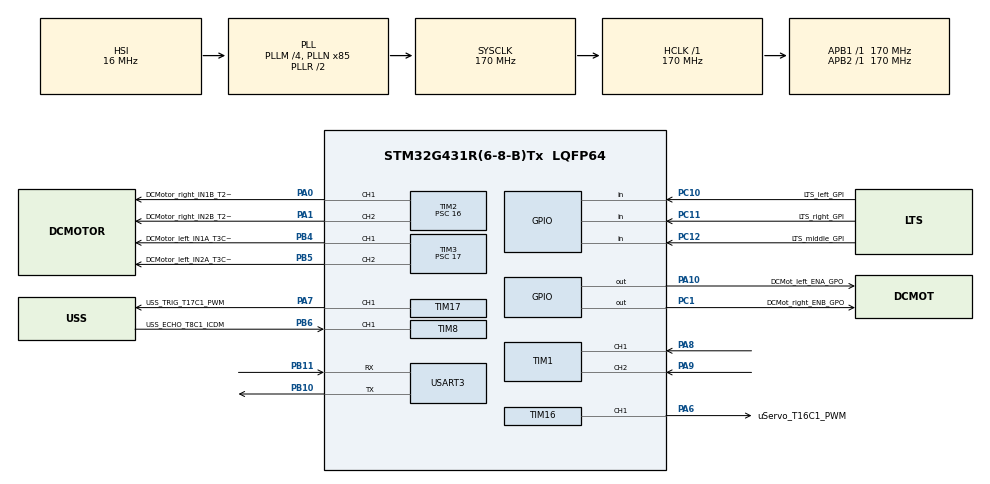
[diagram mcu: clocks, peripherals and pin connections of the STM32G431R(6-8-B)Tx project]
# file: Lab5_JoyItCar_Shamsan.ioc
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Dma.Request0=USART3_TX
Dma.USART3_TX.0.Direction=DMA_MEMORY_TO_PERIPH
Dma.USART3_TX.0.EventEnable=DISABLE
Dma.USART3_TX.0.Instance=DMA1_Channel1
Dma.USART3_TX.0.MemDataAlignment=DMA_MDATAALIGN_BYTE
Dma.USART3_TX.0.MemInc=DMA_MINC_ENABLE
Dma.USART3_TX.0.Mode=DMA_CIRCULAR
Dma.USART3_TX.0.PeriphDataAlignment=DMA_PDATAALIGN_BYTE
Dma.USART3_TX.0.PeriphInc=DMA_PINC_DISABLE
Dma.USART3_TX.0.Polarity=HAL_DMAMUX_REQ_GEN_RISING
Dma.USART3_TX.0.Priority=DMA_PRIORITY_MEDIUM
Dma.USART3_TX.0.RequestNumber=1
Dma.USART3_TX.0.SignalID=NONE
Dma.USART3_TX.0.SyncEnable=DISABLE
Dma.USART3_TX.0.SyncPolarity=HAL_DMAMUX_SYNC_NO_EVENT
Dma.USART3_TX.0.SyncRequestNumber=1
Dma.USART3_TX.0.SyncSignalID=NONE
FREERTOS.BinarySemaphores01=gEncMtx,Dynamic,NULL,Available
FREERTOS.Tasks01=LineFollower_Ta,55,128,vLineFollowerTask,Default,NULL,Dynamic,NULL,NULL;RGB_Task,8,128,vRGBLightTask,Default,NULL,Dynamic,NULL,NULL;StatsPrint_Task,8,128,vStatusPrintTask,Default,NULL,Dynamic,NULL,NULL
FREERTOS.configTOTAL_HEAP_SIZE=6000
Mcu.Family=STM32G4
Mcu.Name=STM32G431R(6-8-B)Tx
Mcu.Package=LQFP64
NVIC.DMA1_Channel1_IRQn=true\:5\:0\:false\:false\:true\:true\:false\:true\:true
NVIC.PriorityGroup=NVIC_PRIORITYGROUP_4
NVIC.TIM1_BRK_TIM15_IRQn=true\:5\:0\:false\:false\:true\:true\:true\:true\:true
NVIC.TIM6_DAC_IRQn=true\:5\:0\:false\:false\:true\:true\:true\:true\:true
NVIC.TIM7_IRQn=true\:15\:0\:false\:false\:true\:false\:false\:true\:true
NVIC.TIM8_CC_IRQn=true\:5\:0\:false\:false\:true\:true\:true\:true\:true
NVIC.TimeBase=TIM7_IRQn
NVIC.TimeBaseIP=TIM7
PA0.GPIO_Label=DCMotor_right_IN1B_T2C1_PWM
PA0.Signal=S_TIM2_CH1
PA1.GPIO_Label=DCMotor_right_IN2B_T2C2_PWM
PA1.Signal=S_TIM2_CH2
PA10.GPIO_Label=DCMot_left_ENA_GPO
PA10.Signal=GPIO_Output
PA13.Mode=Trace_Asynchronous_SW
PA13.Signal=SYS_JTMS-SWDIO
PA14.Mode=Trace_Asynchronous_SW
PA14.Signal=SYS_JTCK-SWCLK
PA2.GPIO_Label=SS_right_T15C1_ICDM
PA2.Signal=S_TIM15_CH1
PA3.GPIO_Label=SS_left_T15C2_ICDM
PA3.Signal=S_TIM15_CH2
PA6.GPIO_Label=uServo_T16C1_PWM
PA6.Signal=S_TIM16_CH1
PA7.GPIO_Label=USS_TRIG_T17C1_PWM
PA7.Signal=S_TIM17_CH1
PA8.GPIO_PuPd=GPIO_NOPULL
PA8.Signal=S_TIM1_CH1
PA9.GPIO_PuPd=GPIO_NOPULL
PA9.Signal=S_TIM1_CH2
PB10.Mode=Asynchronous
PB10.Signal=USART3_TX
PB11.Mode=Asynchronous
PB11.Signal=USART3_RX
PB3.Mode=Trace_Asynchronous_SW
PB3.Signal=SYS_JTDO-SWO
PB4.GPIO_Label=DCMotor_left_IN1A_T3C1_PWM
PB4.Signal=S_TIM3_CH1
PB5.GPIO_Label=DCMotor_left_IN2A_T3C2_PWM
PB5.Signal=S_TIM3_CH2
PB6.GPIO_Label=USS_ECHO_T8C1_ICDM
PB6.Signal=S_TIM8_CH1
PB9.GPIO_Label=RGB_Lights_T4C4_PWM
PB9.Signal=S_TIM4_CH4
PC1.GPIO_Label=DCMot_right_ENB_GPO
PC1.Signal=GPIO_Output
PC10.GPIO_Label=LTS_left_GPI
PC10.Signal=GPIO_Input
PC11.GPIO_Label=LTS_right_GPI
PC11.Signal=GPIO_Input
PC12.GPIO_Label=LTS_middle_GPI
PC12.Signal=GPIO_Input
ProjectManager.HeapSize=0x200
ProjectManager.StackSize=0x400
ProjectManager.TargetToolchain=STM32CubeIDE
RCC.ADC12Freq_Value=170000000
RCC.AHBFreq_Value=170000000
RCC.APB1Freq_Value=170000000
RCC.APB1TimFreq_Value=170000000
RCC.APB2Freq_Value=170000000
RCC.APB2TimFreq_Value=170000000
RCC.CortexFreq_Value=170000000
RCC.EXTERNAL_CLOCK_VALUE=12288000
RCC.HCLKFreq_Value=170000000
RCC.HSE_VALUE=24000000
RCC.HSI48_VALUE=48000000
RCC.HSI_VALUE=16000000
RCC.LSE_VALUE=32768
RCC.PLLM=RCC_PLLM_DIV4
RCC.PLLN=85
RCC.RTCClockSelection=RCC_RTCCLKSOURCE_LSE
RCC.SYSCLKFreq_VALUE=170000000
RCC.SYSCLKSource=RCC_SYSCLKSOURCE_PLLCLK
RCC.USBFreq_Value=170000000
RCC.VCOOutputFreq_Value=340000000
SH.S_TIM15_CH1.0=TIM15_CH1
SH.S_TIM15_CH2.0=TIM15_CH2
SH.S_TIM16_CH1.0=TIM16_CH1,PWM Generation1 CH1
SH.S_TIM17_CH1.0=TIM17_CH1,PWM Generation1 CH1
SH.S_TIM1_CH1.0=TIM1_CH1,Encoder_Interface
SH.S_TIM1_CH2.0=TIM1_CH2,Encoder_Interface
SH.S_TIM2_CH1.0=TIM2_CH1,PWM Generation1 CH1
SH.S_TIM2_CH2.0=TIM2_CH2,PWM Generation2 CH2
SH.S_TIM3_CH1.0=TIM3_CH1,PWM Generation1 CH1
SH.S_TIM3_CH2.0=TIM3_CH2,PWM Generation2 CH2
SH.S_TIM4_CH4.0=TIM4_CH4
SH.S_TIM8_CH1.0=TIM8_CH1,Input_Capture1_from_TI1
TIM1.IC1Filter=6
TIM1.IC2Filter=6
TIM16.Channel=TIM_CHANNEL_1
TIM16.PeriodNoDither=1999
TIM16.Prescaler=1699
TIM17.Channel=TIM_CHANNEL_1
TIM17.PeriodNoDither=7499
TIM17.Prescaler=1699
TIM17.PulseNoDither_1=1
TIM2.Channel-PWM\ Generation1\ CH1=TIM_CHANNEL_1
TIM2.Channel-PWM\ Generation2\ CH2=TIM_CHANNEL_2
TIM2.PeriodNoDither=499
TIM2.Prescaler=16
TIM2.PulseNoDither_1=0
TIM2.PulseNoDither_2=0
TIM3.Channel-PWM\ Generation1\ CH1=TIM_CHANNEL_1
TIM3.Channel-PWM\ Generation2\ CH2=TIM_CHANNEL_2
TIM3.PeriodNoDither=499
TIM3.Prescaler=17
TIM3.PulseNoDither_1=0
TIM3.PulseNoDither_2=0
TIM6.PeriodNoDither=3999
TIM6.Prescaler=42499
TIM8.Channel-Input_Capture1_from_TI1=TIM_CHANNEL_1
TIM8.ICFilter_CH1=7
TIM8.PeriodNoDither=65535
TIM8.Prescaler=16
USART3.VirtualMode-Asynchronous=VM_ASYNC
VP_FREERTOS_VS_CMSIS_V2.Mode=CMSIS_V2
VP_SYS_VS_DBSignals.Mode=DisableDeadBatterySignals
VP_SYS_VS_tim7.Mode=TIM7
VP_TIM16_VS_ClockSourceINT.Mode=Enable_Timer
VP_TIM17_VS_ClockSourceINT.Mode=Enable_Timer
VP_TIM2_VS_ClockSourceINT.Mode=Internal
VP_TIM3_VS_ClockSourceINT.Mode=Internal
VP_TIM6_VS_ClockSourceINT.Mode=Enable_Timer
VP_TIM8_VS_ClockSourceINT.Mode=Internal
board=NUCLEO-G431RB

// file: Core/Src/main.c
/* USER CODE BEGIN Header */
/**
  ******************************************************************************
  * @file           : main.c
  * @brief          : Main program body
  ******************************************************************************
  * @attention
  *
  * Copyright (c) 2025 STMicroelectronics.
  * All rights reserved.
  *
  * This software is licensed under terms that can be found in the LICENSE file
  * in the root directory of this software component.
  * If no LICENSE file comes with this software, it is provided AS-IS.
  *
  ******************************************************************************
  */
/* USER CODE END Header */
#include "main.h"
#include "cmsis_os.h"

/* USER CODE BEGIN Includes */
#include <stdio.h>
#include <string.h>
#include <stdbool.h>
#include <motor.h>
#include <sensors.h>
#include <stdlib.h>

/* USER CODE END Includes */

TIM_HandleTypeDef htim1;
TIM_HandleTypeDef htim2;
TIM_HandleTypeDef htim3;
TIM_HandleTypeDef htim6;
TIM_HandleTypeDef htim8;
TIM_HandleTypeDef htim16;
TIM_HandleTypeDef htim17;

UART_HandleTypeDef huart3;
DMA_HandleTypeDef hdma_usart3_tx;

/* Definitions for LineFollower_Ta */
osThreadId_t LineFollower_TaHandle;
const osThreadAttr_t LineFollower_Ta_attributes = {
  .name = "LineFollower_Ta",
  .priority = (osPriority_t) osPriorityRealtime7,
  .stack_size = 128 * 4
};
/* Definitions for RGB_Task */
osThreadId_t RGB_TaskHandle;
const osThreadAttr_t RGB_Task_attributes = {
  .name = "RGB_Task",
  .priority = (osPriority_t) osPriorityLow,
  .stack_size = 128 * 4
};
/* Definitions for StatsPrint_Task */
osThreadId_t StatsPrint_TaskHandle;
const osThreadAttr_t StatsPrint_Task_attributes = {
  .name = "StatsPrint_Task",
  .priority = (osPriority_t) osPriorityLow,
  .stack_size = 128 * 4
};
/* Definitions for gEncMtx */
osSemaphoreId_t gEncMtxHandle;
const osSemaphoreAttr_t gEncMtx_attributes = {
  .name = "gEncMtx"
};

void SystemClock_Config(void);
static void MX_GPIO_Init(void);
static void MX_DMA_Init(void);
static void MX_TIM3_Init(void);
static void MX_TIM8_Init(void);
static void MX_TIM2_Init(void);
static void MX_TIM17_Init(void);
static void MX_TIM1_Init(void);
static void MX_TIM6_Init(void);
static void MX_USART3_UART_Init(void);
static void MX_TIM16_Init(void);
void vLineFollowerTask(void *argument);
void vRGBLightTask(void *argument);
void vStatusPrintTask(void *argument);

/* USER CODE BEGIN 0 */
volatile uint32_t pulse_ticks = 0;
const uint8_t min_dist = 5;
const uint8_t uss_offset = 3;

#define VOLTAGE_LEVEL 95   // 95 = 9.5V, 80 = 8.0V, etc.

#if VOLTAGE_LEVEL == 95
    #define R_PWM        51
    #define L_PWM        50
    #define R_PWM_Curve  58
    #define L_PWM_Curve  57
#elif VOLTAGE_LEVEL == 80
    #define R_PWM        61
    #define L_PWM        60
    #define R_PWM_Curve  61
    #define L_PWM_Curve  60
#endif

// Now you can declare variables using these constants
uint16_t R_PWM_Value       = R_PWM;
uint16_t L_PWM_Value       = L_PWM;
uint16_t R_PWM_Curve_Value = R_PWM_Curve;
uint16_t L_PWM_Curve_Value = L_PWM_Curve;

MotorHandle Mot_right = {
    .htim = &htim2,
    .channel_in1 = TIM_CHANNEL_1,   // PA0
    .channel_in2 = TIM_CHANNEL_2,   // PA1
    .ena_port = DCMot_right_ENB_GPO_GPIO_Port,
    .ena_pin = DCMot_right_ENB_GPO_Pin            // PC1
};

MotorHandle Mot_left = {
    .htim = &htim3,
    .channel_in1 = TIM_CHANNEL_1,   // PB4 (example, your mapping)
    .channel_in2 = TIM_CHANNEL_2,   // PB5 (example, your mapping)
    .ena_port = DCMot_left_ENA_GPO_GPIO_Port,
    .ena_pin = DCMot_left_ENA_GPO_Pin           // PA10
};

/* USER CODE END 0 */

int main(void)
{

  /* MCU Configuration--------------------------------------------------------*/

  /* Reset of all peripherals, Initializes the Flash interface and the Systick. */
  HAL_Init();

  /* Configure the system clock */
  SystemClock_Config();

  /* USER CODE BEGIN SysInit */
  //xTraceInitialize();
  //xTraceEnable(TRC_START);
  /* USER CODE END SysInit */

  /* Initialize all configured peripherals */
  MX_GPIO_Init();
  MX_DMA_Init();
  MX_TIM3_Init();
  MX_TIM8_Init();
  MX_TIM2_Init();
  MX_TIM17_Init();
  MX_TIM1_Init();
  MX_TIM6_Init();
  MX_USART3_UART_Init();
  MX_TIM16_Init();
  /* USER CODE BEGIN 2 */

  /*
  char rxbuf[64];

  // send "AT"
   uart_send("AT\r\n");
   uart_receive_line(rxbuf, sizeof rxbuf);
   // put a breakpoint here and check rxbuf, should be "OK"

   // set new baud
   uart_send("AT+UART=115200,0,0\r\n");
   uart_receive_line(rxbuf, sizeof rxbuf);
   // should reply "OK"
	*/

  //HAL_UART_Receive_DMA(&huart3, &rxByte, 1); // start DMA reception of 1 byte

  /* USER CODE END 2 */

  /* Init scheduler */
  osKernelInitialize();

  /* Create the semaphores(s) */
  /* creation of gEncMtx */
  gEncMtxHandle = osSemaphoreNew(1, 1, &gEncMtx_attributes);

  /* USER CODE BEGIN RTOS_SEMAPHORES */
  /* add semaphores, ... */
  //gEncMtx = xSemaphoreCreateMutex();
  //configASSERT(gEncMtx != NULL);
  /* USER CODE END RTOS_SEMAPHORES */

  /* Create the thread(s) */
  /* creation of LineFollower_Ta */
  LineFollower_TaHandle = osThreadNew(vLineFollowerTask, NULL, &LineFollower_Ta_attributes);

  /* creation of RGB_Task */
  RGB_TaskHandle = osThreadNew(vRGBLightTask, NULL, &RGB_Task_attributes);

  /* creation of StatsPrint_Task */
  StatsPrint_TaskHandle = osThreadNew(vStatusPrintTask, NULL, &StatsPrint_Task_attributes);

  /* USER CODE BEGIN RTOS_EVENTS */
  /* add events, ... */
  /*
  	Set_LED(0, 255, 0, 0);
	Set_LED(1, 0, 255, 0);

	Set_LED(2, 0, 0, 255);
	Set_LED(3, 46, 89, 128);

	Set_LED(4, 156, 233, 100);
	Set_LED(5, 102, 0, 235);

	Set_LED(6, 47, 38, 77);
	Set_LED(7, 255, 200, 0);

	Set_Brightness(45);
	//WS2812_Send();
	*/

  /* USER CODE END RTOS_EVENTS */

  /* Start scheduler */
  osKernelStart();

  /* We should never get here as control is now taken by the scheduler */

  /* Infinite loop */
  while (1)
  {

  }
}

void SystemClock_Config(void)
{
  RCC_OscInitTypeDef RCC_OscInitStruct = {0};
  RCC_ClkInitTypeDef RCC_ClkInitStruct = {0};

  /** Configure the main internal regulator output voltage
  */
  HAL_PWREx_ControlVoltageScaling(PWR_REGULATOR_VOLTAGE_SCALE1_BOOST);

  /** Initializes the RCC Oscillators according to the specified parameters
  * in the RCC_OscInitTypeDef structure.
  */
  RCC_OscInitStruct.OscillatorType = RCC_OSCILLATORTYPE_HSI;
  RCC_OscInitStruct.HSIState = RCC_HSI_ON;
  RCC_OscInitStruct.HSICalibrationValue = RCC_HSICALIBRATION_DEFAULT;
  RCC_OscInitStruct.PLL.PLLState = RCC_PLL_ON;
  RCC_OscInitStruct.PLL.PLLSource = RCC_PLLSOURCE_HSI;
  RCC_OscInitStruct.PLL.PLLM = RCC_PLLM_DIV4;
  RCC_OscInitStruct.PLL.PLLN = 85;
  RCC_OscInitStruct.PLL.PLLP = RCC_PLLP_DIV2;
  RCC_OscInitStruct.PLL.PLLQ = RCC_PLLQ_DIV2;
  RCC_OscInitStruct.PLL.PLLR = RCC_PLLR_DIV2;
  if (HAL_RCC_OscConfig(&RCC_OscInitStruct) != HAL_OK)
  {
    Error_Handler();
  }

  /** Initializes the CPU, AHB and APB buses clocks
  */
  RCC_ClkInitStruct.ClockType = RCC_CLOCKTYPE_HCLK|RCC_CLOCKTYPE_SYSCLK
                              |RCC_CLOCKTYPE_PCLK1|RCC_CLOCKTYPE_PCLK2;
  RCC_ClkInitStruct.SYSCLKSource = RCC_SYSCLKSOURCE_PLLCLK;
  RCC_ClkInitStruct.AHBCLKDivider = RCC_SYSCLK_DIV1;
  RCC_ClkInitStruct.APB1CLKDivider = RCC_HCLK_DIV1;
  RCC_ClkInitStruct.APB2CLKDivider = RCC_HCLK_DIV1;

  if (HAL_RCC_ClockConfig(&RCC_ClkInitStruct, FLASH_LATENCY_4) != HAL_OK)
  {
    Error_Handler();
  }
}

static void MX_TIM1_Init(void)
{

  TIM_Encoder_InitTypeDef sConfig = {0};
  TIM_MasterConfigTypeDef sMasterConfig = {0};

  htim1.Instance = TIM1;
  htim1.Init.Prescaler = 0;
  htim1.Init.CounterMode = TIM_COUNTERMODE_UP;
  htim1.Init.Period = 65535;
  htim1.Init.ClockDivision = TIM_CLOCKDIVISION_DIV1;
  htim1.Init.RepetitionCounter = 0;
  htim1.Init.AutoReloadPreload = TIM_AUTORELOAD_PRELOAD_DISABLE;
  sConfig.EncoderMode = TIM_ENCODERMODE_TI1;
  sConfig.IC1Polarity = TIM_ICPOLARITY_RISING;
  sConfig.IC1Selection = TIM_ICSELECTION_DIRECTTI;
  sConfig.IC1Prescaler = TIM_ICPSC_DIV1;
  sConfig.IC1Filter = 6;
  sConfig.IC2Polarity = TIM_ICPOLARITY_RISING;
  sConfig.IC2Selection = TIM_ICSELECTION_DIRECTTI;
  sConfig.IC2Prescaler = TIM_ICPSC_DIV1;
  sConfig.IC2Filter = 6;
  if (HAL_TIM_Encoder_Init(&htim1, &sConfig) != HAL_OK)
  {
    Error_Handler();
  }
  sMasterConfig.MasterOutputTrigger = TIM_TRGO_RESET;
  sMasterConfig.MasterOutputTrigger2 = TIM_TRGO2_RESET;
  sMasterConfig.MasterSlaveMode = TIM_MASTERSLAVEMODE_DISABLE;
  if (HAL_TIMEx_MasterConfigSynchronization(&htim1, &sMasterConfig) != HAL_OK)
  {
    Error_Handler();
  }

}

static void MX_TIM2_Init(void)
{

  TIM_ClockConfigTypeDef sClockSourceConfig = {0};
  TIM_MasterConfigTypeDef sMasterConfig = {0};
  TIM_OC_InitTypeDef sConfigOC = {0};

  htim2.Instance = TIM2;
  htim2.Init.Prescaler = 16;
  htim2.Init.CounterMode = TIM_COUNTERMODE_UP;
  htim2.Init.Period = 499;
  htim2.Init.ClockDivision = TIM_CLOCKDIVISION_DIV1;
  htim2.Init.AutoReloadPreload = TIM_AUTORELOAD_PRELOAD_DISABLE;
  if (HAL_TIM_Base_Init(&htim2) != HAL_OK)
  {
    Error_Handler();
  }
  sClockSourceConfig.ClockSource = TIM_CLOCKSOURCE_INTERNAL;
  if (HAL_TIM_ConfigClockSource(&htim2, &sClockSourceConfig) != HAL_OK)
  {
    Error_Handler();
  }
  if (HAL_TIM_PWM_Init(&htim2) != HAL_OK)
  {
    Error_Handler();
  }
  sMasterConfig.MasterOutputTrigger = TIM_TRGO_RESET;
  sMasterConfig.MasterSlaveMode = TIM_MASTERSLAVEMODE_DISABLE;
  if (HAL_TIMEx_MasterConfigSynchronization(&htim2, &sMasterConfig) != HAL_OK)
  {
    Error_Handler();
  }
  sConfigOC.OCMode = TIM_OCMODE_PWM1;
  sConfigOC.Pulse = 0;
  sConfigOC.OCPolarity = TIM_OCPOLARITY_HIGH;
  sConfigOC.OCFastMode = TIM_OCFAST_DISABLE;
  if (HAL_TIM_PWM_ConfigChannel(&htim2, &sConfigOC, TIM_CHANNEL_1) != HAL_OK)
  {
    Error_Handler();
  }
  if (HAL_TIM_PWM_ConfigChannel(&htim2, &sConfigOC, TIM_CHANNEL_2) != HAL_OK)
  {
    Error_Handler();
  }
  HAL_TIM_MspPostInit(&htim2);

}

static void MX_TIM3_Init(void)
{

  TIM_ClockConfigTypeDef sClockSourceConfig = {0};
  TIM_MasterConfigTypeDef sMasterConfig = {0};
  TIM_OC_InitTypeDef sConfigOC = {0};

  htim3.Instance = TIM3;
  htim3.Init.Prescaler = 17;
  htim3.Init.CounterMode = TIM_COUNTERMODE_UP;
  htim3.Init.Period = 499;
  htim3.Init.ClockDivision = TIM_CLOCKDIVISION_DIV1;
  htim3.Init.AutoReloadPreload = TIM_AUTORELOAD_PRELOAD_DISABLE;
  if (HAL_TIM_Base_Init(&htim3) != HAL_OK)
  {
    Error_Handler();
  }
  sClockSourceConfig.ClockSource = TIM_CLOCKSOURCE_INTERNAL;
  if (HAL_TIM_ConfigClockSource(&htim3, &sClockSourceConfig) != HAL_OK)
  {
    Error_Handler();
  }
  if (HAL_TIM_PWM_Init(&htim3) != HAL_OK)
  {
    Error_Handler();
  }
  sMasterConfig.MasterOutputTrigger = TIM_TRGO_RESET;
  sMasterConfig.MasterSlaveMode = TIM_MASTERSLAVEMODE_DISABLE;
  if (HAL_TIMEx_MasterConfigSynchronization(&htim3, &sMasterConfig) != HAL_OK)
  {
    Error_Handler();
  }
  sConfigOC.OCMode = TIM_OCMODE_PWM1;
  sConfigOC.Pulse = 0;
  sConfigOC.OCPolarity = TIM_OCPOLARITY_HIGH;
  sConfigOC.OCFastMode = TIM_OCFAST_DISABLE;
  if (HAL_TIM_PWM_ConfigChannel(&htim3, &sConfigOC, TIM_CHANNEL_1) != HAL_OK)
  {
    Error_Handler();
  }
  if (HAL_TIM_PWM_ConfigChannel(&htim3, &sConfigOC, TIM_CHANNEL_2) != HAL_OK)
  {
    Error_Handler();
  }
  HAL_TIM_MspPostInit(&htim3);

}

static void MX_TIM6_Init(void)
{

  TIM_MasterConfigTypeDef sMasterConfig = {0};

  htim6.Instance = TIM6;
  htim6.Init.Prescaler = 42499;
  htim6.Init.CounterMode = TIM_COUNTERMODE_UP;
  htim6.Init.Period = 3999;
  htim6.Init.AutoReloadPreload = TIM_AUTORELOAD_PRELOAD_DISABLE;
  if (HAL_TIM_Base_Init(&htim6) != HAL_OK)
  {
    Error_Handler();
  }
  sMasterConfig.MasterOutputTrigger = TIM_TRGO_RESET;
  sMasterConfig.MasterSlaveMode = TIM_MASTERSLAVEMODE_DISABLE;
  if (HAL_TIMEx_MasterConfigSynchronization(&htim6, &sMasterConfig) != HAL_OK)
  {
    Error_Handler();
  }

}

static void MX_TIM8_Init(void)
{

  TIM_ClockConfigTypeDef sClockSourceConfig = {0};
  TIM_MasterConfigTypeDef sMasterConfig = {0};
  TIM_IC_InitTypeDef sConfigIC = {0};

  htim8.Instance = TIM8;
  htim8.Init.Prescaler = 16;
  htim8.Init.CounterMode = TIM_COUNTERMODE_UP;
  htim8.Init.Period = 65535;
  htim8.Init.ClockDivision = TIM_CLOCKDIVISION_DIV1;
  htim8.Init.RepetitionCounter = 0;
  htim8.Init.AutoReloadPreload = TIM_AUTORELOAD_PRELOAD_DISABLE;
  if (HAL_TIM_Base_Init(&htim8) != HAL_OK)
  {
    Error_Handler();
  }
  sClockSourceConfig.ClockSource = TIM_CLOCKSOURCE_INTERNAL;
  if (HAL_TIM_ConfigClockSource(&htim8, &sClockSourceConfig) != HAL_OK)
  {
    Error_Handler();
  }
  if (HAL_TIM_IC_Init(&htim8) != HAL_OK)
  {
    Error_Handler();
  }
  sMasterConfig.MasterOutputTrigger = TIM_TRGO_RESET;
  sMasterConfig.MasterOutputTrigger2 = TIM_TRGO2_RESET;
  sMasterConfig.MasterSlaveMode = TIM_MASTERSLAVEMODE_DISABLE;
  if (HAL_TIMEx_MasterConfigSynchronization(&htim8, &sMasterConfig) != HAL_OK)
  {
    Error_Handler();
  }
  sConfigIC.ICPolarity = TIM_INPUTCHANNELPOLARITY_RISING;
  sConfigIC.ICSelection = TIM_ICSELECTION_DIRECTTI;
  sConfigIC.ICPrescaler = TIM_ICPSC_DIV1;
  sConfigIC.ICFilter = 7;
  if (HAL_TIM_IC_ConfigChannel(&htim8, &sConfigIC, TIM_CHANNEL_1) != HAL_OK)
  {
    Error_Handler();
  }

}

static void MX_TIM16_Init(void)
{

  TIM_OC_InitTypeDef sConfigOC = {0};
  TIM_BreakDeadTimeConfigTypeDef sBreakDeadTimeConfig = {0};

  htim16.Instance = TIM16;
  htim16.Init.Prescaler = 1699;
  htim16.Init.CounterMode = TIM_COUNTERMODE_UP;
  htim16.Init.Period = 1999;
  htim16.Init.ClockDivision = TIM_CLOCKDIVISION_DIV1;
  htim16.Init.RepetitionCounter = 0;
  htim16.Init.AutoReloadPreload = TIM_AUTORELOAD_PRELOAD_DISABLE;
  if (HAL_TIM_Base_Init(&htim16) != HAL_OK)
  {
    Error_Handler();
  }
  if (HAL_TIM_PWM_Init(&htim16) != HAL_OK)
  {
    Error_Handler();
  }
  sConfigOC.OCMode = TIM_OCMODE_PWM1;
  sConfigOC.Pulse = 0;
  sConfigOC.OCPolarity = TIM_OCPOLARITY_HIGH;
  sConfigOC.OCNPolarity = TIM_OCNPOLARITY_HIGH;
  sConfigOC.OCFastMode = TIM_OCFAST_DISABLE;
  sConfigOC.OCIdleState = TIM_OCIDLESTATE_RESET;
  sConfigOC.OCNIdleState = TIM_OCNIDLESTATE_RESET;
  if (HAL_TIM_PWM_ConfigChannel(&htim16, &sConfigOC, TIM_CHANNEL_1) != HAL_OK)
  {
    Error_Handler();
  }
  sBreakDeadTimeConfig.OffStateRunMode = TIM_OSSR_DISABLE;
  sBreakDeadTimeConfig.OffStateIDLEMode = TIM_OSSI_DISABLE;
  sBreakDeadTimeConfig.LockLevel = TIM_LOCKLEVEL_OFF;
  sBreakDeadTimeConfig.DeadTime = 0;
  sBreakDeadTimeConfig.BreakState = TIM_BREAK_DISABLE;
  sBreakDeadTimeConfig.BreakPolarity = TIM_BREAKPOLARITY_HIGH;
  sBreakDeadTimeConfig.BreakFilter = 0;
  sBreakDeadTimeConfig.AutomaticOutput = TIM_AUTOMATICOUTPUT_DISABLE;
  if (HAL_TIMEx_ConfigBreakDeadTime(&htim16, &sBreakDeadTimeConfig) != HAL_OK)
  {
    Error_Handler();
  }
  HAL_TIM_MspPostInit(&htim16);

}

static void MX_TIM17_Init(void)
{

  TIM_OC_InitTypeDef sConfigOC = {0};
  TIM_BreakDeadTimeConfigTypeDef sBreakDeadTimeConfig = {0};

  htim17.Instance = TIM17;
  htim17.Init.Prescaler = 1699;
  htim17.Init.CounterMode = TIM_COUNTERMODE_UP;
  htim17.Init.Period = 7499;
  htim17.Init.ClockDivision = TIM_CLOCKDIVISION_DIV1;
  htim17.Init.RepetitionCounter = 0;
  htim17.Init.AutoReloadPreload = TIM_AUTORELOAD_PRELOAD_DISABLE;
  if (HAL_TIM_Base_Init(&htim17) != HAL_OK)
  {
    Error_Handler();
  }
  if (HAL_TIM_PWM_Init(&htim17) != HAL_OK)
  {
    Error_Handler();
  }
  sConfigOC.OCMode = TIM_OCMODE_PWM1;
  sConfigOC.Pulse = 1;
  sConfigOC.OCPolarity = TIM_OCPOLARITY_HIGH;
  sConfigOC.OCNPolarity = TIM_OCNPOLARITY_HIGH;
  sConfigOC.OCFastMode = TIM_OCFAST_DISABLE;
  sConfigOC.OCIdleState = TIM_OCIDLESTATE_RESET;
  sConfigOC.OCNIdleState = TIM_OCNIDLESTATE_RESET;
  if (HAL_TIM_PWM_ConfigChannel(&htim17, &sConfigOC, TIM_CHANNEL_1) != HAL_OK)
  {
    Error_Handler();
  }
  sBreakDeadTimeConfig.OffStateRunMode = TIM_OSSR_DISABLE;
  sBreakDeadTimeConfig.OffStateIDLEMode = TIM_OSSI_DISABLE;
  sBreakDeadTimeConfig.LockLevel = TIM_LOCKLEVEL_OFF;
  sBreakDeadTimeConfig.DeadTime = 0;
  sBreakDeadTimeConfig.BreakState = TIM_BREAK_DISABLE;
  sBreakDeadTimeConfig.BreakPolarity = TIM_BREAKPOLARITY_HIGH;
  sBreakDeadTimeConfig.BreakFilter = 0;
  sBreakDeadTimeConfig.AutomaticOutput = TIM_AUTOMATICOUTPUT_DISABLE;
  if (HAL_TIMEx_ConfigBreakDeadTime(&htim17, &sBreakDeadTimeConfig) != HAL_OK)
  {
    Error_Handler();
  }
  HAL_TIM_MspPostInit(&htim17);

}

static void MX_USART3_UART_Init(void)
{

  huart3.Instance = USART3;
  huart3.Init.BaudRate = 115200;
  huart3.Init.WordLength = UART_WORDLENGTH_8B;
  huart3.Init.StopBits = UART_STOPBITS_1;
  huart3.Init.Parity = UART_PARITY_NONE;
  huart3.Init.Mode = UART_MODE_TX_RX;
  huart3.Init.HwFlowCtl = UART_HWCONTROL_NONE;
  huart3.Init.OverSampling = UART_OVERSAMPLING_16;
  huart3.Init.OneBitSampling = UART_ONE_BIT_SAMPLE_DISABLE;
  huart3.Init.ClockPrescaler = UART_PRESCALER_DIV1;
  huart3.AdvancedInit.AdvFeatureInit = UART_ADVFEATURE_NO_INIT;
  if (HAL_UART_Init(&huart3) != HAL_OK)
  {
    Error_Handler();
  }
  if (HAL_UARTEx_SetTxFifoThreshold(&huart3, UART_TXFIFO_THRESHOLD_1_8) != HAL_OK)
  {
    Error_Handler();
  }
  if (HAL_UARTEx_SetRxFifoThreshold(&huart3, UART_RXFIFO_THRESHOLD_1_8) != HAL_OK)
  {
    Error_Handler();
  }
  if (HAL_UARTEx_DisableFifoMode(&huart3) != HAL_OK)
  {
    Error_Handler();
  }

}

static void MX_DMA_Init(void)
{

  /* DMA controller clock enable */
  __HAL_RCC_DMAMUX1_CLK_ENABLE();
  __HAL_RCC_DMA1_CLK_ENABLE();

  /* DMA interrupt init */
  /* DMA1_Channel1_IRQn interrupt configuration */
  HAL_NVIC_SetPriority(DMA1_Channel1_IRQn, 5, 0);
  HAL_NVIC_EnableIRQ(DMA1_Channel1_IRQn);

}

static void MX_GPIO_Init(void)
{
  GPIO_InitTypeDef GPIO_InitStruct = {0};

  /* GPIO Ports Clock Enable */
  __HAL_RCC_GPIOC_CLK_ENABLE();
  __HAL_RCC_GPIOA_CLK_ENABLE();
  __HAL_RCC_GPIOB_CLK_ENABLE();

  /*Configure GPIO pin Output Level */
  HAL_GPIO_WritePin(DCMot_right_ENB_GPO_GPIO_Port, DCMot_right_ENB_GPO_Pin, GPIO_PIN_RESET);

  /*Configure GPIO pin Output Level */
  HAL_GPIO_WritePin(DCMot_left_ENA_GPO_GPIO_Port, DCMot_left_ENA_GPO_Pin, GPIO_PIN_RESET);

  /*Configure GPIO pin : DCMot_right_ENB_GPO_Pin */
  GPIO_InitStruct.Pin = DCMot_right_ENB_GPO_Pin;
  GPIO_InitStruct.Mode = GPIO_MODE_OUTPUT_PP;
  GPIO_InitStruct.Pull = GPIO_NOPULL;
  GPIO_InitStruct.Speed = GPIO_SPEED_FREQ_LOW;
  HAL_GPIO_Init(DCMot_right_ENB_GPO_GPIO_Port, &GPIO_InitStruct);

  /*Configure GPIO pins : SS_right_T15C1_ICDM_Pin SS_left_T15C2_ICDM_Pin */
  GPIO_InitStruct.Pin = SS_right_T15C1_ICDM_Pin|SS_left_T15C2_ICDM_Pin;
  GPIO_InitStruct.Mode = GPIO_MODE_AF_PP;
  GPIO_InitStruct.Pull = GPIO_NOPULL;
  GPIO_InitStruct.Speed = GPIO_SPEED_FREQ_LOW;
  GPIO_InitStruct.Alternate = GPIO_AF9_TIM15;
  HAL_GPIO_Init(GPIOA, &GPIO_InitStruct);

  /*Configure GPIO pin : DCMot_left_ENA_GPO_Pin */
  GPIO_InitStruct.Pin = DCMot_left_ENA_GPO_Pin;
  GPIO_InitStruct.Mode = GPIO_MODE_OUTPUT_PP;
  GPIO_InitStruct.Pull = GPIO_NOPULL;
  GPIO_InitStruct.Speed = GPIO_SPEED_FREQ_LOW;
  HAL_GPIO_Init(DCMot_left_ENA_GPO_GPIO_Port, &GPIO_InitStruct);

  /*Configure GPIO pins : LTS_left_GPI_Pin LTS_right_GPI_Pin LTS_middle_GPI_Pin */
  GPIO_InitStruct.Pin = LTS_left_GPI_Pin|LTS_right_GPI_Pin|LTS_middle_GPI_Pin;
  GPIO_InitStruct.Mode = GPIO_MODE_INPUT;
  GPIO_InitStruct.Pull = GPIO_NOPULL;
  HAL_GPIO_Init(GPIOC, &GPIO_InitStruct);

  /*Configure GPIO pin : RGB_Lights_T4C4_PWM_Pin */
  GPIO_InitStruct.Pin = RGB_Lights_T4C4_PWM_Pin;
  GPIO_InitStruct.Mode = GPIO_MODE_AF_PP;
  GPIO_InitStruct.Pull = GPIO_NOPULL;
  GPIO_InitStruct.Speed = GPIO_SPEED_FREQ_LOW;
  GPIO_InitStruct.Alternate = GPIO_AF2_TIM4;
  HAL_GPIO_Init(RGB_Lights_T4C4_PWM_GPIO_Port, &GPIO_InitStruct);

}

/* USER CODE BEGIN 4 */

void HAL_TIM_IC_CaptureCallback(TIM_HandleTypeDef *htim)
{
	/*
	static uint32_t last_cap_right = 0, last_cap_left = 0;
	static uint32_t last_ovf_right = 0, last_ovf_left = 0;

	if (htim->Instance == TIM15) {

	        // Snapshot overflow counter first (prevents races)
	        uint32_t overflow_snapshot = tim15_overflow_count;

	        if (htim->Channel == HAL_TIM_ACTIVE_CHANNEL_1) {      // PA2 => Right
	            uint32_t capture_now = HAL_TIM_ReadCapturedValue(htim, TIM_CHANNEL_1);
	            uint32_t ticks_since_last = (overflow_snapshot - last_ovf_right) * 65536u + (uint16_t)(capture_now - last_cap_right);

	            last_cap_right   = capture_now;
	            last_ovf_right   = overflow_snapshot;
	            period_right_ticks = ticks_since_last;
	            last_right_ms    = xTaskGetTickCountFromISR();
	        }
	        else if (htim->Channel == HAL_TIM_ACTIVE_CHANNEL_2) {  // PA3 => Left
	            uint32_t capture_now = HAL_TIM_ReadCapturedValue(htim, TIM_CHANNEL_2);
	            uint32_t ticks_since_last =
	                (overflow_snapshot - last_ovf_left) * 65536u +
	                (uint16_t)(capture_now - last_cap_left);

	            last_cap_left    = capture_now;
	            last_ovf_left    = overflow_snapshot;
	            period_left_ticks = ticks_since_last;
	            last_left_ms     = xTaskGetTickCountFromISR();
	        }
	}

*/

	static uint32_t echo_start = 0, echo_end = 0, edge_state = 0;

    if(htim->Instance == TIM8 && htim->Channel == HAL_TIM_ACTIVE_CHANNEL_1)  {

        if(edge_state == 0)  { // Rising edge

            echo_start = HAL_TIM_ReadCapturedValue(htim, TIM_CHANNEL_1);
            __HAL_TIM_SET_CAPTUREPOLARITY(htim, TIM_CHANNEL_1, TIM_INPUTCHANNELPOLARITY_FALLING);
            edge_state = 1;

        } else { // Falling edge

            echo_end = HAL_TIM_ReadCapturedValue(htim, TIM_CHANNEL_1);
            __HAL_TIM_SET_CAPTUREPOLARITY(htim, TIM_CHANNEL_1, TIM_INPUTCHANNELPOLARITY_RISING);
            edge_state = 0;

            if (echo_end >= echo_start) {
            	pulse_ticks = (echo_end - echo_start);
            } else {
            	pulse_ticks = (65536 - echo_start + echo_end);
            }
        }
    }

}

/* USER CODE END 4 */

void vLineFollowerTask(void *argument)
{
  /* USER CODE BEGIN 5 */
	motors_init(&Mot_right, &Mot_left);
	USS_init(&htim17, TIM_CHANNEL_1, &htim8, TIM_CHANNEL_1);
  /* Infinite loop */
  for(;;)
  {
	  uint32_t uss_d = USS_get_value(pulse_ticks);
	  if(uss_d > 9){
		uint8_t state = ((GPIOC->IDR & GPIO_PIN_10) >> 9)| ((GPIOC->IDR & GPIO_PIN_11) >> 11);
		switch (state) {
			case 0b11: stop_robot(); 				break; 	// both
			case 0b10: move_robot(0,R_PWM_Curve); 	break; 	// left
			case 0b01: move_robot(L_PWM_Curve,0); 	break; 	// right
			default:   move_robot(L_PWM, R_PWM);  	break;	// none
		}
	  } else {
			stop_robot();
		}
  }
  /* USER CODE END 5 */
}

void vRGBLightTask(void *argument)
{
  /* USER CODE BEGIN vRGBLightTask */
	//const TickType_t xPeriod = pdMS_TO_TICKS(500);
	TickType_t xLastWakeTime = xTaskGetTickCount();
  /* Infinite loop */
  for(;;)
  {
	  /*
	  for (int i=0; i<46; i++)
	  {
		  Set_Brightness(i);
		  WS2812_Send();
		  vTaskDelayUntil( &xLastWakeTime, xPeriod);
	  }

	  for (int i=45; i>=0; i--)
	  {
		  Set_Brightness(i);
		  WS2812_Send();
		  vTaskDelayUntil( &xLastWakeTime, xPeriod);
	  }
	  */
	  vTaskDelayUntil( &xLastWakeTime, pdMS_TO_TICKS(40000));

  }
  /* USER CODE END vRGBLightTask */
}

void vStatusPrintTask(void *argument)
{
  /* USER CODE BEGIN vStatusPrintTask */
	/*
    //static char txBuffer[128];
	//static char binObstacles[3 + 1]; // 2 bits + null terminator
	//static char binLines[4 + 1];     // 3 bits + null terminator

   // HAL_TIM_Encoder_Start(&htim1, TIM_CHANNEL_ALL);

	EncoderConfig cfg1 = {
		.htim = &htim1,
		.inverted = false,
		.cpr = 3840u,           // counts per revolution
		.wheel_circum_m = 0.210f // circumference in meters
	};

	Encoder_Init(&enc1, &cfg1);
*/

	// Test send over UART
	const char msg[] = "Encoder test start\r\n";
	HAL_UART_Transmit(&huart3, (uint8_t*)msg, sizeof(msg)-1, HAL_MAX_DELAY);

	TickType_t xLastWake = xTaskGetTickCount();
	vTaskDelayUntil(&xLastWake,  pdMS_TO_TICKS(1000));

  /* Infinite loop */
  for(;;)
  {
	  /*
	  // TEST MESSAGE
	  // Build the message (could include encoder/sensor values)
	  int len = snprintf(txBuffer, sizeof(txBuffer), "Hello from FreeRTOS @ %lu ms\r\n",
						 (unsigned long)xTaskGetTickCount() * portTICK_PERIOD_MS);

	  if (len > 0)
	  {
		  // Non-blocking send via DMA
		  HAL_UART_Transmit_DMA(&huart3, (uint8_t *)txBuffer, len);

		  // Optionally wait until DMA finishes before sending again
		  // ulTaskNotifyTake(pdTRUE, pdMS_TO_TICKS(100));
	  }

	  //Encoder_Update(&enc1, 0.1f); // dt = 0.1 s

	  //int32_t counts = Encoder_GetCounts(&enc1);
	  //float rpm = Encoder_GetRPM(&enc1);
	  //long unsigned int mps = Encoder_GetLinearSpeed(&enc1);

	  //int len = snprintf(txBuffer, sizeof(txBuffer), "C:%ld RPM:%.2f m/s:%lu\r\n",
		//				 (long)counts, rpm, mps);

	  int len = snprintf(txBuffer, sizeof(txBuffer), "p:%lu m | v:%lu m/s\r\n",
						 encoder_position, encoder_velocity);

	  if (len > 0 && len < sizeof(txBuffer)) {
	  	  HAL_UART_Transmit_DMA(&huart3, (uint8_t *)txBuffer, len);
	  } else {

  		  // snprintf failed (len < 0) or message truncated (len >= sizeof(txBuffer))
  		  dropCount++;

  		  // Optional: send a fallback warning (short and safe)
  		  const char warn[] = "TX DROP\r\n";
  		  HAL_UART_Transmit_DMA(&huart3, (uint8_t *)warn, sizeof(warn) - 1);
  		  continue;
  	  }

      // ---- Snapshot shared data ----
	  EncoderData_t s;
	  s.L_counts = Encoder_GetCounts(&leftEnc);
	  s.L_rpm    = Encoder_GetRPM(&leftEnc);
	  s.L_mps    = Encoder_GetLinearSpeed(&leftEnc);

	  //s.R_counts = Encoder_GetCounts(&rightEnc);
	  //s.R_rpm    = Encoder_GetRPM(&rightEnc);
	  //s.R_mps    = Encoder_GetLinearSpeed(&rightEnc);

	  if (gEncMtx) {
		  xSemaphoreTake(gEncMtx, portMAX_DELAY);
		  s = gEncData;
		  xSemaphoreGive(gEncMtx);
	  } else {
		  s = gEncData;
	  }
	  s = gEncData;

	  // ---- Format your payload (fit within txBuffer) ----
	  // Keep it short to avoid heap/stack bloat; floats are OK if task stack is big enough.
	  int len = snprintf(txBuffer, sizeof(txBuffer),
						 "L:%ld %.2frpm %.3fm/s \r\n",
						 (long)s.L_counts, s.L_rpm, s.L_mps);

	  if (len > 0 && len < sizeof(txBuffer)) {

		  // Non-blocking send via DMA
		  HAL_UART_Transmit_DMA(&huart3, (uint8_t *)txBuffer, len);

	  } else {

		  // snprintf failed (len < 0) or message truncated (len >= sizeof(txBuffer))
		  dropCount++;

		  // Optional: send a fallback warning (short and safe)
		  const char warn[] = "TX DROP\r\n";
		  HAL_UART_Transmit_DMA(&huart3, (uint8_t *)warn, sizeof(warn) - 1);
		  continue;

	  }

	  uint8_t obstVal = (ips.leftObstacle_detected << 1) | ips.rightObstacle_detected;
	  uint8_t linesVal = (sensor.leftLine_detected << 2) | (sensor.middleLine_detected << 1) | sensor.rightLine_detected;

	  to_binary(binObstacles,  obstVal,  2);
	  to_binary(binLines, linesVal, 3);

	  int len = snprintf(txBuffer, sizeof(txBuffer),
		  //"%u    [cm]    \r\n",
		 "%lu [cm], %s [LR], %s [LMR], %u [deg], %lu [L cm/s], %lu [R cm/s]\r\n",
		  distance_cm, binObstacles, binLines,  angle, 	  rpmL,   rpmR 		) + 4;

	  // else: previous transfer still running → drop this frame (or add a queue)
	  //ulTaskNotifyTake(pdTRUE, pdMS_TO_TICKS(5000));

	   */
	  vTaskDelayUntil( &xLastWake, pdMS_TO_TICKS(40000));

  }
  /* USER CODE END vStatusPrintTask */
}

void HAL_TIM_PeriodElapsedCallback(TIM_HandleTypeDef *htim)
{
  /* USER CODE BEGIN Callback 0 */
	/*
	timer_counter = __HAL_TIM_GET_COUNTER(&htim1);
  // measure velocity, position
  update_encoder(&enc_instance_mot, &htim1);
  //encoder_position = enc_instance_mot.position;
  //encoder_velocity = enc_instance_mot.velocity;
  static char txBuffer[128];

  int len = snprintf(txBuffer, sizeof(txBuffer), "p:%lu m | v:%lu m/s\r\n",
  						 encoder_position, encoder_velocity);

  	  if (len > 0 && len < sizeof(txBuffer)) {
  	  	  HAL_UART_Transmit_DMA(&huart3, (uint8_t *)txBuffer, len);
  	  } else {

	  // snprintf failed (len < 0) or message truncated (len >= sizeof(txBuffer))
	  dropCount++;

	  // Optional: send a fallback warning (short and safe)
	  const char warn[] = "TX DROP\r\n";
	  HAL_UART_Transmit_DMA(&huart3, (uint8_t *)warn, sizeof(warn) - 1);
  }
  */

	/*
	if (htim->Instance == TIM6)
	  {
	    HAL_TIM_Base_Stop_IT(htim);

	    __HAL_TIM_SET_COMPARE(&htim3, TIM_CHANNEL_1, 0);
	    __HAL_TIM_SET_COMPARE(&htim3, TIM_CHANNEL_2, 0);
	    __HAL_TIM_SET_COMPARE(&htim2, TIM_CHANNEL_1, 0);
	    __HAL_TIM_SET_COMPARE(&htim2, TIM_CHANNEL_2, 0);
	  }
	  */

  /* USER CODE END Callback 0 */
  if (htim->Instance == TIM7)
  {
    HAL_IncTick();
  }
  /* USER CODE BEGIN Callback 1 */
  /*
  if (htim->Instance == TIM15)
  {
	  tim15_overflow_count++;
  }

  if (htim->Instance == TIM6) {

	  sensor = get_LTS_value(&cfg);

	  line_bits = ((GPIOC->IDR & LTS_left_GPI_Pin)   ? 4 : 0) |
			 	  ((GPIOC->IDR & LTS_middle_GPI_Pin) ? 2 : 0) |
			 	  ((GPIOC->IDR & LTS_right_GPI_Pin)  ? 1 : 0);

	  g_lts_bits = bits & 0x07;    // publish debounced/raw pattern
  }
  */
  /* USER CODE END Callback 1 */
}

void Error_Handler(void)
{
  __disable_irq();
  while (1)
  {
  }
}
